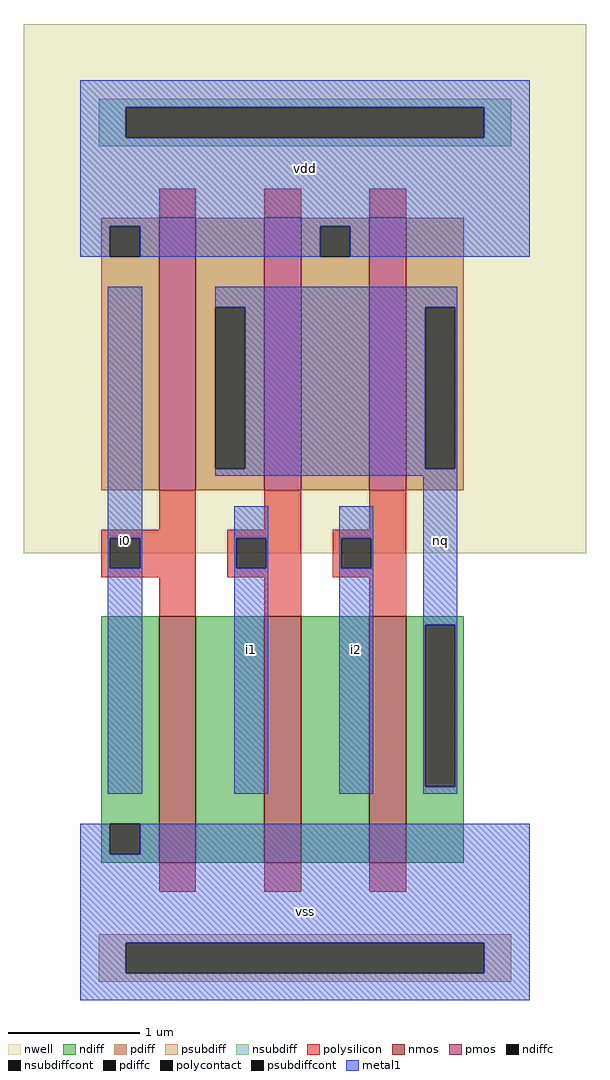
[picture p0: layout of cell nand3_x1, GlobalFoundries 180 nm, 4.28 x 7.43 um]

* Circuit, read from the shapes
.subckt nand3_x1 vss vdd i0 nq i1 i2
XM1 n1 i0 vss vss nfet_03v3 w=1.875u l=0.28u
XM2 n2 i1 n1 vss nfet_03v3 w=1.875u l=0.28u
XM3 nq i2 n2 vss nfet_03v3 w=1.875u l=0.28u
XM4 nq i0 vdd vdd pfet_03v3 w=2.075u l=0.28u
XM5 vdd i1 nq vdd pfet_03v3 w=2.075u l=0.28u
XM6 nq i2 vdd vdd pfet_03v3 w=2.075u l=0.28u
.ends

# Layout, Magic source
magic
tech gf180mcuD
magscale 1 10
<< nwell >>
rect -86 680 770 1486
<< nmos >>
rect 120 209 176 584
rect 280 209 336 584
rect 440 209 496 584
<< pmos >>
rect 120 776 176 1191
rect 280 776 336 1191
rect 440 776 496 1191
<< ndiff >>
rect 32 268 120 584
rect 32 222 45 268
rect 91 222 120 268
rect 32 209 120 222
rect 176 209 280 584
rect 336 209 440 584
rect 496 571 584 584
rect 496 325 525 571
rect 571 325 584 571
rect 496 209 584 325
<< pdiff >>
rect 32 1178 120 1191
rect 32 1132 45 1178
rect 91 1132 120 1178
rect 32 776 120 1132
rect 176 1055 280 1191
rect 176 809 205 1055
rect 251 809 280 1055
rect 176 776 280 809
rect 336 1178 440 1191
rect 336 1132 365 1178
rect 411 1132 440 1178
rect 336 776 440 1132
rect 496 1055 584 1191
rect 496 809 525 1055
rect 571 809 584 1055
rect 496 776 584 809
<< ndiffc >>
rect 45 222 91 268
rect 525 325 571 571
<< pdiffc >>
rect 45 1132 91 1178
rect 205 809 251 1055
rect 365 1132 411 1178
rect 525 809 571 1055
<< psubdiff >>
rect 28 87 656 100
rect 28 41 69 87
rect 615 41 656 87
rect 28 28 656 41
<< nsubdiff >>
rect 28 1359 656 1372
rect 28 1313 69 1359
rect 615 1313 656 1359
rect 28 1300 656 1313
<< psubdiffcont >>
rect 69 41 615 87
<< nsubdiffcont >>
rect 69 1313 615 1359
<< polysilicon >>
rect 120 1191 176 1235
rect 280 1191 336 1235
rect 440 1191 496 1235
rect 120 716 176 776
rect 280 716 336 776
rect 440 716 496 776
rect 32 703 176 716
rect 32 657 45 703
rect 91 657 176 703
rect 32 644 176 657
rect 224 703 336 716
rect 224 657 237 703
rect 283 657 336 703
rect 224 644 336 657
rect 384 703 496 716
rect 384 657 397 703
rect 443 657 496 703
rect 384 644 496 657
rect 120 584 176 644
rect 280 584 336 644
rect 440 584 496 644
rect 120 165 176 209
rect 280 165 336 209
rect 440 165 496 209
<< polycontact >>
rect 45 657 91 703
rect 237 657 283 703
rect 397 657 443 703
<< metal1 >>
rect 0 1359 684 1400
rect 0 1313 69 1359
rect 615 1313 684 1359
rect 0 1178 684 1313
rect 0 1132 45 1178
rect 91 1132 365 1178
rect 411 1132 684 1178
rect 42 703 94 1086
rect 205 1055 574 1086
rect 251 809 525 1055
rect 571 809 574 1055
rect 205 798 574 809
rect 42 657 45 703
rect 91 657 94 703
rect 42 314 94 657
rect 234 703 286 752
rect 234 657 237 703
rect 283 657 286 703
rect 234 314 286 657
rect 394 703 446 752
rect 394 657 397 703
rect 443 657 446 703
rect 394 314 446 657
rect 522 571 574 798
rect 522 325 525 571
rect 571 325 574 571
rect 522 314 574 325
rect 0 222 45 268
rect 91 222 684 268
rect 0 87 684 222
rect 0 41 69 87
rect 615 41 684 87
rect 0 0 684 41
<< labels >>
rlabel metal1 s 0 0 684 268 4 vss
port 3 nsew
rlabel metal1 s 0 1132 684 1400 4 vdd
port 5 nsew
rlabel metal1 s 42 314 94 1086 4 i0
port 7 nsew
rlabel metal1 s 522 314 574 1086 4 nq
port 9 nsew
rlabel metal1 s 234 314 286 752 4 i1
port 11 nsew
rlabel metal1 s 394 314 446 752 4 i2
port 13 nsew
<< end >>
